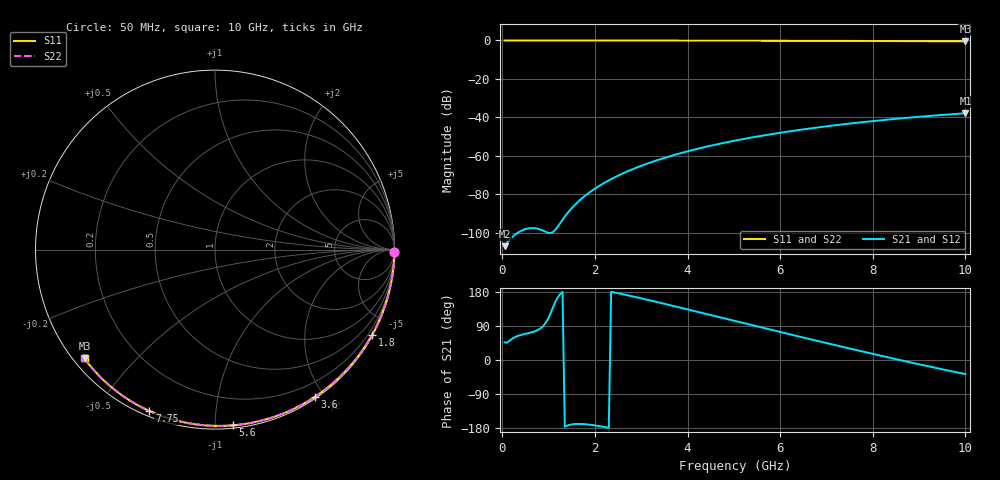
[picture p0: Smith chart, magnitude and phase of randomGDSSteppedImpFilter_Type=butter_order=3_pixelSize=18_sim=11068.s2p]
! freq	dB(S11)	phase(S11)	dB(S12)	phase(S12)
!  dB(S21)	phase(S21)	dB(S22)	phase(S22)
!S-par simulation data
#  GHz  S  DB  R 50
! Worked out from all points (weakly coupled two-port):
!   200 points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, 50 MHz to 10 GHz, reference 50 ohm
!   highest |S21| = -37.89 dB at 10 GHz (marker M1); lowest = -107.1 dB at 50 MHz (marker M2)
!   lowest |S11| = -0.5 dB at 10 GHz (marker M3), VSWR 36.54, Z = 1.55 - j18.1 ohm
!   |S11| at or under -10 dB: nowhere
!   |S22| runs from -0.5 to 0.0 dB; largest |S21 - S12| = 0
!   S11 on the Smith chart (normalised r, x): 50 MHz: open; 1.8 GHz: 0.03, -3.92; 3.6 GHz: 0.02, -1.88; 5.6 GHz: 0.02, -1.11; 7.75 GHz: 0.02, -0.67; 10 GHz: 0.03, -0.36
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0.05  -0.00 -0.8  -107.09 46.6  -107.09 46.6  -0.00 -0.8
0.45  -0.01 -7.3  -98.63 67.6  -98.63 67.6  -0.01 -7.3
0.9  -0.02 -14.5  -99.19 92.1  -99.19 92.1  -0.02 -14.5
1.75  -0.04 -27.9  -81.57 -169.1  -81.57 -169.1  -0.04 -27.9
1.8  -0.04 -28.6  -80.60 -169.6  -80.60 -169.6  -0.04 -28.6
1.85  -0.04 -29.4  -79.68 -170.2  -79.68 -170.2  -0.04 -29.4
2.05  -0.04 -32.5  -76.35 -173.5  -76.35 -173.5  -0.04 -32.5
2.25  -0.05 -35.6  -73.48 -177.7  -73.48 -177.7  -0.05 -35.6
2.55  -0.05 -40.2  -69.80 174.9  -69.80 174.9  -0.05 -40.2
2.95  -0.06 -46.3  -65.72 164.1  -65.72 164.1  -0.06 -46.3
3.4  -0.07 -53.0  -61.90 151.3  -61.90 151.3  -0.07 -53.0
3.6  -0.08 -55.9  -60.41 145.4  -60.41 145.4  -0.08 -55.9
4.3  -0.09 -66.1  -55.91 124.6  -55.91 124.6  -0.09 -66.1
5.05  -0.12 -76.6  -52.03 102.1  -52.03 102.1  -0.12 -76.6
5.6  -0.14 -84.1  -49.62 85.7  -49.62 85.7  -0.14 -84.2
6.15  -0.16 -91.5  -47.51 69.5  -47.51 69.5  -0.16 -91.5
6.7  -0.19 -98.7  -45.63 53.4  -45.63 53.4  -0.19 -98.7
7.2  -0.22 -105.2  -44.11 38.9  -44.11 38.9  -0.22 -105.2
7.75  -0.26 -112.1  -42.60 23.2  -42.60 23.2  -0.26 -112.1
8.35  -0.31 -119.6  -41.13 6.4  -41.13 6.4  -0.31 -119.7
9.15  -0.38 -129.6  -39.43 -15.3  -39.43 -15.3  -0.38 -129.6
10  -0.48 -140.2  -37.89 -37.3  -37.89 -37.3  -0.48 -140.2
